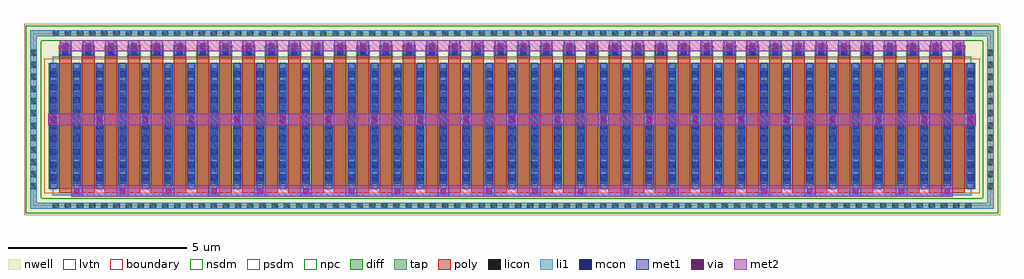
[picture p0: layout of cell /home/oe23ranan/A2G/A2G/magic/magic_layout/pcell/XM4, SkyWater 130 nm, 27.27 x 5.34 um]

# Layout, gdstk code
import gdstk
lib = gdstk.Library(unit=1e-6, precision=1e-09)
def R(c, l, rs):  # rectangles x0, y0, x1, y1
    for r in rs: c.add(gdstk.rectangle(r[:2], r[2:], *l))
def A(c, l, x, y, w, h, nx, ny, dx, dy):  # array of equal rectangles
    R(c, l, [(x+i*dx, y+j*dy, x+i*dx+w, y+j*dy+h) for i in range(nx) for j in range(ny)])
nwell = (64, 20)
diff = (65, 20)
tap = (65, 44)
poly = (66, 20)
licon = (66, 44)
li1 = (67, 20)
mcon = (67, 44)
met1 = (68, 20)
via = (68, 44)
met2 = (69, 20)
nsdm = (93, 44)
psdm = (94, 20)
npc = (95, 20)
lvtn = (125, 44)
boundary = (235, 4)

via_m1_m2_1 = lib.new_cell('via_M1_M2_1')
R(via_m1_m2_1, met1, [(-0.16,-0.16,0.16,0.16)])
R(via_m1_m2_1, via, [(-0.075,-0.075,0.075,0.075)])
R(via_m1_m2_1, met2, [(-0.16,-0.16,0.16,0.16)])

xm4_origin = lib.new_cell('XM4_origin')
R(xm4_origin, nwell, [(-13.635,-2.67,13.635,2.67)])
R(xm4_origin, diff, [(-12.945,-1.93,12.945,1.57)])
R(xm4_origin, tap, [(-13.455,-2.49,13.455,-2.32), (-13.455,-2.32,-13.285,2.32), (13.285,-2.32,13.455,2.32), (-13.455,2.32,13.455,2.49)])
A(xm4_origin, poly, -12.655, -2.06, 0.35, 4.115, 40, 1, 0.64, 0)
A(xm4_origin, licon, -12.835, -2.49, 0.17, 0.17, 76, 2, 0.34, 4.81)
A(xm4_origin, licon, -13.455, -1.955, 0.17, 0.17, 1, 12, 0, 0.34)
A(xm4_origin, licon, 13.285, -1.955, 0.17, 0.17, 1, 12, 0, 0.34)
A(xm4_origin, licon, -12.885, -1.795, 0.17, 0.17, 41, 10, 0.64, 0.34)
A(xm4_origin, licon, -12.565, 1.805, 0.17, 0.17, 40, 1, 0.64, 0)
A(xm4_origin, li1, -12.885, -1.95, 0.17, 3.54, 41, 1, 0.64, 0)
A(xm4_origin, li1, -12.655, 1.805, 0.35, 0.17, 40, 1, 0.64, 0)
R(xm4_origin, li1, [(-13.455,-2.49,13.455,-2.32), (-13.455,-2.32,-13.285,2.32), (13.285,-2.32,13.455,2.32), (-13.455,2.32,13.455,2.49)])
A(xm4_origin, mcon, -12.885, -1.705, 0.17, 0.17, 41, 9, 0.64, 0.36)
A(xm4_origin, mcon, -12.565, 1.805, 0.17, 0.17, 40, 1, 0.64, 0)
A(xm4_origin, met1, -12.915, -1.93, 0.23, 3.5, 41, 1, 0.64, 0)
A(xm4_origin, met1, -12.635, 1.775, 0.31, 0.23, 40, 1, 0.64, 0)
R(xm4_origin, nsdm, [(-13.58,-2.615,13.58,-2.195), (-13.58,-2.195,-13.16,2.195), (13.16,-2.195,13.58,2.195), (-13.58,2.195,13.58,2.615)])
R(xm4_origin, psdm, [(-13.07,-2.055,13.07,1.695)])
A(xm4_origin, npc, -12.665, 1.705, 0.37, 0.37, 40, 1, 0.64, 0)
R(xm4_origin, lvtn, [(-12.835,-2.11,12.835,1.75)])
R(xm4_origin, boundary, [(-13.37,-2.405,13.37,2.405)])
xm4_origin.add(gdstk.Label('G', (-12.48,1.89), layer=68, texttype=5))
xm4_origin.add(gdstk.Label('G', (-11.84,1.89), layer=68, texttype=5))
xm4_origin.add(gdstk.Label('G', (-11.2,1.89), layer=68, texttype=5))
xm4_origin.add(gdstk.Label('G', (-10.56,1.89), layer=68, texttype=5))
xm4_origin.add(gdstk.Label('G', (-9.92,1.89), layer=68, texttype=5))
xm4_origin.add(gdstk.Label('G', (-9.275,1.89), layer=68, texttype=5))
xm4_origin.add(gdstk.Label('G', (-8.64,1.89), layer=68, texttype=5))
xm4_origin.add(gdstk.Label('G', (-8,1.89), layer=68, texttype=5))
xm4_origin.add(gdstk.Label('G', (-7.36,1.89), layer=68, texttype=5))
xm4_origin.add(gdstk.Label('G', (-6.72,1.89), layer=68, texttype=5))
xm4_origin.add(gdstk.Label('G', (-6.08,1.89), layer=68, texttype=5))
xm4_origin.add(gdstk.Label('G', (-5.44,1.89), layer=68, texttype=5))
xm4_origin.add(gdstk.Label('G', (-4.8,1.89), layer=68, texttype=5))
xm4_origin.add(gdstk.Label('G', (-4.16,1.89), layer=68, texttype=5))
xm4_origin.add(gdstk.Label('G', (-3.52,1.89), layer=68, texttype=5))
xm4_origin.add(gdstk.Label('G', (-2.88,1.89), layer=68, texttype=5))
xm4_origin.add(gdstk.Label('G', (-2.24,1.89), layer=68, texttype=5))
xm4_origin.add(gdstk.Label('G', (-1.6,1.89), layer=68, texttype=5))
xm4_origin.add(gdstk.Label('G', (-0.96,1.89), layer=68, texttype=5))
xm4_origin.add(gdstk.Label('G', (-0.32,1.89), layer=68, texttype=5))
xm4_origin.add(gdstk.Label('G', (0.32,1.89), layer=68, texttype=5))
xm4_origin.add(gdstk.Label('G', (0.96,1.89), layer=68, texttype=5))
xm4_origin.add(gdstk.Label('G', (1.6,1.89), layer=68, texttype=5))
xm4_origin.add(gdstk.Label('G', (2.24,1.89), layer=68, texttype=5))
xm4_origin.add(gdstk.Label('G', (2.88,1.89), layer=68, texttype=5))
xm4_origin.add(gdstk.Label('G', (3.52,1.89), layer=68, texttype=5))
xm4_origin.add(gdstk.Label('G', (4.16,1.89), layer=68, texttype=5))
xm4_origin.add(gdstk.Label('G', (4.8,1.89), layer=68, texttype=5))
xm4_origin.add(gdstk.Label('G', (5.44,1.89), layer=68, texttype=5))
xm4_origin.add(gdstk.Label('G', (6.08,1.89), layer=68, texttype=5))
xm4_origin.add(gdstk.Label('G', (6.72,1.89), layer=68, texttype=5))
xm4_origin.add(gdstk.Label('G', (7.36,1.89), layer=68, texttype=5))
xm4_origin.add(gdstk.Label('G', (8,1.89), layer=68, texttype=5))
xm4_origin.add(gdstk.Label('G', (8.64,1.89), layer=68, texttype=5))
xm4_origin.add(gdstk.Label('G', (9.275,1.89), layer=68, texttype=5))
xm4_origin.add(gdstk.Label('G', (9.92,1.89), layer=68, texttype=5))
xm4_origin.add(gdstk.Label('G', (10.56,1.89), layer=68, texttype=5))
xm4_origin.add(gdstk.Label('G', (11.2,1.89), layer=68, texttype=5))
xm4_origin.add(gdstk.Label('G', (11.84,1.89), layer=68, texttype=5))
xm4_origin.add(gdstk.Label('G', (12.48,1.89), layer=68, texttype=5))
xm4_origin.add(gdstk.Label('D', (-12.8,-0.18), layer=68, texttype=5))
xm4_origin.add(gdstk.Label('S', (-12.16,-0.18), layer=68, texttype=5))
xm4_origin.add(gdstk.Label('D', (-11.52,-0.18), layer=68, texttype=5))
xm4_origin.add(gdstk.Label('S', (-10.88,-0.18), layer=68, texttype=5))
xm4_origin.add(gdstk.Label('D', (-10.24,-0.18), layer=68, texttype=5))
xm4_origin.add(gdstk.Label('S', (-9.6,-0.18), layer=68, texttype=5))
xm4_origin.add(gdstk.Label('D', (-8.96,-0.18), layer=68, texttype=5))
xm4_origin.add(gdstk.Label('S', (-8.32,-0.18), layer=68, texttype=5))
xm4_origin.add(gdstk.Label('D', (-7.68,-0.18), layer=68, texttype=5))
xm4_origin.add(gdstk.Label('S', (-7.04,-0.18), layer=68, texttype=5))
xm4_origin.add(gdstk.Label('D', (-6.4,-0.18), layer=68, texttype=5))
xm4_origin.add(gdstk.Label('S', (-5.76,-0.18), layer=68, texttype=5))
xm4_origin.add(gdstk.Label('D', (-5.12,-0.18), layer=68, texttype=5))
xm4_origin.add(gdstk.Label('S', (-4.48,-0.18), layer=68, texttype=5))
xm4_origin.add(gdstk.Label('D', (-3.84,-0.18), layer=68, texttype=5))
xm4_origin.add(gdstk.Label('S', (-3.2,-0.18), layer=68, texttype=5))
xm4_origin.add(gdstk.Label('D', (-2.56,-0.18), layer=68, texttype=5))
xm4_origin.add(gdstk.Label('S', (-1.92,-0.18), layer=68, texttype=5))
xm4_origin.add(gdstk.Label('D', (-1.28,-0.18), layer=68, texttype=5))
xm4_origin.add(gdstk.Label('S', (-0.64,-0.18), layer=68, texttype=5))
xm4_origin.add(gdstk.Label('D', (0,-0.18), layer=68, texttype=5))
xm4_origin.add(gdstk.Label('S', (0.64,-0.18), layer=68, texttype=5))
xm4_origin.add(gdstk.Label('D', (1.28,-0.18), layer=68, texttype=5))
xm4_origin.add(gdstk.Label('S', (1.92,-0.18), layer=68, texttype=5))
xm4_origin.add(gdstk.Label('D', (2.56,-0.18), layer=68, texttype=5))
xm4_origin.add(gdstk.Label('S', (3.2,-0.18), layer=68, texttype=5))
xm4_origin.add(gdstk.Label('D', (3.84,-0.18), layer=68, texttype=5))
xm4_origin.add(gdstk.Label('S', (4.48,-0.18), layer=68, texttype=5))
xm4_origin.add(gdstk.Label('D', (5.12,-0.18), layer=68, texttype=5))
xm4_origin.add(gdstk.Label('S', (5.76,-0.18), layer=68, texttype=5))
xm4_origin.add(gdstk.Label('D', (6.4,-0.18), layer=68, texttype=5))
xm4_origin.add(gdstk.Label('S', (7.04,-0.18), layer=68, texttype=5))
xm4_origin.add(gdstk.Label('D', (7.68,-0.18), layer=68, texttype=5))
xm4_origin.add(gdstk.Label('S', (8.32,-0.18), layer=68, texttype=5))
xm4_origin.add(gdstk.Label('D', (8.96,-0.18), layer=68, texttype=5))
xm4_origin.add(gdstk.Label('S', (9.6,-0.18), layer=68, texttype=5))
xm4_origin.add(gdstk.Label('D', (10.24,-0.18), layer=68, texttype=5))
xm4_origin.add(gdstk.Label('S', (10.88,-0.18), layer=68, texttype=5))
xm4_origin.add(gdstk.Label('D', (11.52,-0.18), layer=68, texttype=5))
xm4_origin.add(gdstk.Label('S', (12.16,-0.18), layer=68, texttype=5))
xm4_origin.add(gdstk.Label('D', (12.8,-0.18), layer=68, texttype=5))

c__home_oe23ranan_a2g_a2g_ = lib.new_cell('/home/oe23ranan/A2G/A2G/magic/magic_layout/pcell/XM4')
R(c__home_oe23ranan_a2g_a2g_, met2, [(-12.32,-2.16,12.32,-1.84), (-12.96,-0.16,12.96,0.16), (-12.64,1.9,12.64,2.22)])
c__home_oe23ranan_a2g_a2g_.add(gdstk.Reference(via_m1_m2_1, (-10.88,-2)))
c__home_oe23ranan_a2g_a2g_.add(gdstk.Reference(via_m1_m2_1, (-12.16,-2)))
c__home_oe23ranan_a2g_a2g_.add(gdstk.Reference(via_m1_m2_1, (-11.52,0)))
c__home_oe23ranan_a2g_a2g_.add(gdstk.Reference(via_m1_m2_1, (-12.8,0)))
c__home_oe23ranan_a2g_a2g_.add(gdstk.Reference(via_m1_m2_1, (-8.32,-2)))
c__home_oe23ranan_a2g_a2g_.add(gdstk.Reference(via_m1_m2_1, (-9.6,-2)))
c__home_oe23ranan_a2g_a2g_.add(gdstk.Reference(via_m1_m2_1, (-8.96,0)))
c__home_oe23ranan_a2g_a2g_.add(gdstk.Reference(via_m1_m2_1, (-10.24,0)))
c__home_oe23ranan_a2g_a2g_.add(gdstk.Reference(via_m1_m2_1, (-5.76,-2)))
c__home_oe23ranan_a2g_a2g_.add(gdstk.Reference(via_m1_m2_1, (-7.04,-2)))
c__home_oe23ranan_a2g_a2g_.add(gdstk.Reference(via_m1_m2_1, (-6.4,0)))
c__home_oe23ranan_a2g_a2g_.add(gdstk.Reference(via_m1_m2_1, (-7.68,0)))
c__home_oe23ranan_a2g_a2g_.add(gdstk.Reference(via_m1_m2_1, (-3.2,-2)))
c__home_oe23ranan_a2g_a2g_.add(gdstk.Reference(via_m1_m2_1, (-4.48,-2)))
c__home_oe23ranan_a2g_a2g_.add(gdstk.Reference(via_m1_m2_1, (-3.84,0)))
c__home_oe23ranan_a2g_a2g_.add(gdstk.Reference(via_m1_m2_1, (-5.12,0)))
c__home_oe23ranan_a2g_a2g_.add(gdstk.Reference(via_m1_m2_1, (-0.64,-2)))
c__home_oe23ranan_a2g_a2g_.add(gdstk.Reference(via_m1_m2_1, (-1.92,-2)))
c__home_oe23ranan_a2g_a2g_.add(gdstk.Reference(via_m1_m2_1, (0,0)))
c__home_oe23ranan_a2g_a2g_.add(gdstk.Reference(via_m1_m2_1, (-2.56,0)))
c__home_oe23ranan_a2g_a2g_.add(gdstk.Reference(via_m1_m2_1, (-1.28,0)))
c__home_oe23ranan_a2g_a2g_.add(gdstk.Reference(via_m1_m2_1, (1.92,-2)))
c__home_oe23ranan_a2g_a2g_.add(gdstk.Reference(via_m1_m2_1, (0.64,-2)))
c__home_oe23ranan_a2g_a2g_.add(gdstk.Reference(via_m1_m2_1, (2.56,0)))
c__home_oe23ranan_a2g_a2g_.add(gdstk.Reference(via_m1_m2_1, (1.28,0)))
c__home_oe23ranan_a2g_a2g_.add(gdstk.Reference(via_m1_m2_1, (4.48,-2)))
c__home_oe23ranan_a2g_a2g_.add(gdstk.Reference(via_m1_m2_1, (3.2,-2)))
c__home_oe23ranan_a2g_a2g_.add(gdstk.Reference(via_m1_m2_1, (5.12,0)))
c__home_oe23ranan_a2g_a2g_.add(gdstk.Reference(via_m1_m2_1, (3.84,0)))
c__home_oe23ranan_a2g_a2g_.add(gdstk.Reference(via_m1_m2_1, (8.32,-2)))
c__home_oe23ranan_a2g_a2g_.add(gdstk.Reference(via_m1_m2_1, (7.04,-2)))
c__home_oe23ranan_a2g_a2g_.add(gdstk.Reference(via_m1_m2_1, (5.76,-2)))
c__home_oe23ranan_a2g_a2g_.add(gdstk.Reference(via_m1_m2_1, (7.68,0)))
c__home_oe23ranan_a2g_a2g_.add(gdstk.Reference(via_m1_m2_1, (6.4,0)))
c__home_oe23ranan_a2g_a2g_.add(gdstk.Reference(via_m1_m2_1, (10.88,-2)))
c__home_oe23ranan_a2g_a2g_.add(gdstk.Reference(via_m1_m2_1, (9.6,-2)))
c__home_oe23ranan_a2g_a2g_.add(gdstk.Reference(via_m1_m2_1, (10.24,0)))
c__home_oe23ranan_a2g_a2g_.add(gdstk.Reference(via_m1_m2_1, (8.96,0)))
c__home_oe23ranan_a2g_a2g_.add(gdstk.Reference(via_m1_m2_1, (12.16,-2)))
c__home_oe23ranan_a2g_a2g_.add(gdstk.Reference(via_m1_m2_1, (12.8,0)))
c__home_oe23ranan_a2g_a2g_.add(gdstk.Reference(via_m1_m2_1, (11.52,0)))
c__home_oe23ranan_a2g_a2g_.add(gdstk.Reference(via_m1_m2_1, (12.48,2.06)))
c__home_oe23ranan_a2g_a2g_.add(gdstk.Reference(via_m1_m2_1, (11.84,2.06)))
c__home_oe23ranan_a2g_a2g_.add(gdstk.Reference(via_m1_m2_1, (11.2,2.06)))
c__home_oe23ranan_a2g_a2g_.add(gdstk.Reference(via_m1_m2_1, (10.56,2.06)))
c__home_oe23ranan_a2g_a2g_.add(gdstk.Reference(via_m1_m2_1, (9.92,2.06)))
c__home_oe23ranan_a2g_a2g_.add(gdstk.Reference(via_m1_m2_1, (9.27,2.06)))
c__home_oe23ranan_a2g_a2g_.add(gdstk.Reference(via_m1_m2_1, (8.64,2.06)))
c__home_oe23ranan_a2g_a2g_.add(gdstk.Reference(via_m1_m2_1, (8,2.06)))
c__home_oe23ranan_a2g_a2g_.add(gdstk.Reference(via_m1_m2_1, (7.36,2.06)))
c__home_oe23ranan_a2g_a2g_.add(gdstk.Reference(via_m1_m2_1, (6.72,2.06)))
c__home_oe23ranan_a2g_a2g_.add(gdstk.Reference(via_m1_m2_1, (6.08,2.06)))
c__home_oe23ranan_a2g_a2g_.add(gdstk.Reference(via_m1_m2_1, (5.44,2.06)))
c__home_oe23ranan_a2g_a2g_.add(gdstk.Reference(via_m1_m2_1, (4.8,2.06)))
c__home_oe23ranan_a2g_a2g_.add(gdstk.Reference(via_m1_m2_1, (4.16,2.06)))
c__home_oe23ranan_a2g_a2g_.add(gdstk.Reference(via_m1_m2_1, (3.52,2.06)))
c__home_oe23ranan_a2g_a2g_.add(gdstk.Reference(via_m1_m2_1, (2.88,2.06)))
c__home_oe23ranan_a2g_a2g_.add(gdstk.Reference(via_m1_m2_1, (2.24,2.06)))
c__home_oe23ranan_a2g_a2g_.add(gdstk.Reference(via_m1_m2_1, (1.6,2.06)))
c__home_oe23ranan_a2g_a2g_.add(gdstk.Reference(via_m1_m2_1, (0.96,2.06)))
c__home_oe23ranan_a2g_a2g_.add(gdstk.Reference(via_m1_m2_1, (0.32,2.06)))
c__home_oe23ranan_a2g_a2g_.add(gdstk.Reference(via_m1_m2_1, (-0.32,2.06)))
c__home_oe23ranan_a2g_a2g_.add(gdstk.Reference(via_m1_m2_1, (-0.96,2.06)))
c__home_oe23ranan_a2g_a2g_.add(gdstk.Reference(via_m1_m2_1, (-1.6,2.06)))
c__home_oe23ranan_a2g_a2g_.add(gdstk.Reference(via_m1_m2_1, (-2.24,2.06)))
c__home_oe23ranan_a2g_a2g_.add(gdstk.Reference(via_m1_m2_1, (-2.88,2.06)))
c__home_oe23ranan_a2g_a2g_.add(gdstk.Reference(via_m1_m2_1, (-3.52,2.06)))
c__home_oe23ranan_a2g_a2g_.add(gdstk.Reference(via_m1_m2_1, (-4.16,2.06)))
c__home_oe23ranan_a2g_a2g_.add(gdstk.Reference(via_m1_m2_1, (-4.8,2.06)))
c__home_oe23ranan_a2g_a2g_.add(gdstk.Reference(via_m1_m2_1, (-5.44,2.06)))
c__home_oe23ranan_a2g_a2g_.add(gdstk.Reference(via_m1_m2_1, (-6.08,2.06)))
c__home_oe23ranan_a2g_a2g_.add(gdstk.Reference(via_m1_m2_1, (-6.72,2.06)))
c__home_oe23ranan_a2g_a2g_.add(gdstk.Reference(via_m1_m2_1, (-7.36,2.06)))
c__home_oe23ranan_a2g_a2g_.add(gdstk.Reference(via_m1_m2_1, (-8,2.06)))
c__home_oe23ranan_a2g_a2g_.add(gdstk.Reference(via_m1_m2_1, (-8.64,2.06)))
c__home_oe23ranan_a2g_a2g_.add(gdstk.Reference(via_m1_m2_1, (-9.27,2.06)))
c__home_oe23ranan_a2g_a2g_.add(gdstk.Reference(via_m1_m2_1, (-9.92,2.06)))
c__home_oe23ranan_a2g_a2g_.add(gdstk.Reference(via_m1_m2_1, (-10.56,2.06)))
c__home_oe23ranan_a2g_a2g_.add(gdstk.Reference(via_m1_m2_1, (-11.2,2.06)))
c__home_oe23ranan_a2g_a2g_.add(gdstk.Reference(via_m1_m2_1, (-11.84,2.06)))
c__home_oe23ranan_a2g_a2g_.add(gdstk.Reference(via_m1_m2_1, (-12.48,2.06)))
c__home_oe23ranan_a2g_a2g_.add(gdstk.Reference(xm4_origin, (0,0)))

lib.write_gds('_home_oe23ranan_A2G_A2G_magic_magic_layout_pcell_XM4.gds')
